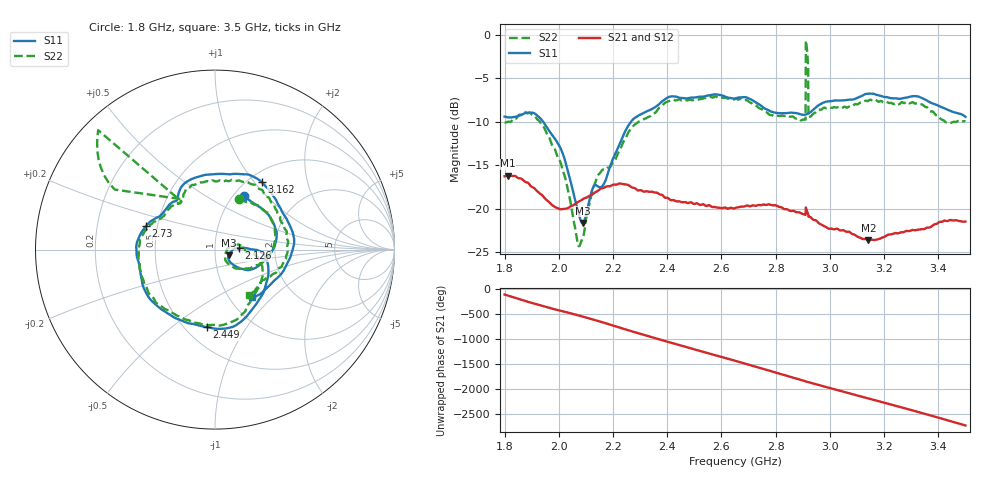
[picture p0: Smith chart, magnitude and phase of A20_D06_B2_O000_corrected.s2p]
! Created with skrf 1.9.0 (http://scikit-rf.org).
# Hz S RI R 50.0
!freq ReS11 ImS11 ReS21 ImS21 ReS12 ImS12 ReS22 ImS22
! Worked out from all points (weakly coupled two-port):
!   1601 points, 1.8 GHz to 3.5 GHz, reference 50 ohm
!   highest |S21| = -16.20 dB at 1.812 GHz (marker M1); lowest = -23.7 dB at 3.142 GHz (marker M2)
!   lowest |S11| = -21.7 dB at 2.088 GHz (marker M3), VSWR 1.18, Z = 58.2 - j3.65 ohm
!   |S11| at or under -10 dB: 1.943 GHz to 2.266 GHz (323.5 MHz wide, 15.4 % of centre)
!   |S22| runs from -24.3 to -0.6 dB; largest |S21 - S12| = 0.0026
!   S11 on the Smith chart (normalised r, x): 1.8 GHz: 1.12, +0.75; 2.126 GHz: 1.30, +0.02; 2.449 GHz: 0.63, -0.67; 2.73 GHz: 0.43, +0.13; 3.162 GHz: 1.14, +1.09; 3.5 GHz: 1.27, -0.76
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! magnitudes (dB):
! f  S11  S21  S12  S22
! 1.8 GHz  -9.4  -16.3  -16.3  -10.0
! 1.812 GHz  -9.5  -16.2  -16.2  -10.0
! 1.942 GHz  -10.0  -18.6  -18.6  -10.5
! 2.013 GHz  -13.5  -20.1  -20.1  -15.4
! 2.069 GHz  -20.1  -19.3  -19.3  -23.9
! 2.084 GHz  -21.5  -19.0  -19.0  -23.7
! 2.088 GHz  -21.7  -18.9  -18.9  -23.4
! 2.126 GHz  -17.6  -18.3  -18.3  -17.6
! 2.167 GHz  -17.1  -17.6  -17.6  -15.5
! 2.268 GHz  -9.9  -17.5  -17.5  -10.8
! 2.367 GHz  -8.0  -18.3  -18.2  -8.5
! 2.449 GHz  -7.2  -19.2  -19.2  -7.5
! 2.65 GHz  -7.3  -20.0  -19.9  -7.4
! 2.73 GHz  -7.8  -19.7  -19.7  -8.2
! 2.902 GHz  -9.2  -20.6  -20.6  -9.7
! 2.911 GHz  -9.2  -19.9  -19.8  -0.6
! 2.92 GHz  -9.1  -20.6  -20.6  -3.7
! 2.934 GHz  -8.7  -21.1  -21.1  -9.2
! 3.142 GHz  -6.8  -23.7  -23.5  -7.6
! 3.162 GHz  -6.8  -23.6  -23.6  -7.5
! 3.217 GHz  -7.2  -23.0  -23.0  -7.8
! 3.5 GHz  -9.4  -21.5  -21.5  -10.0
